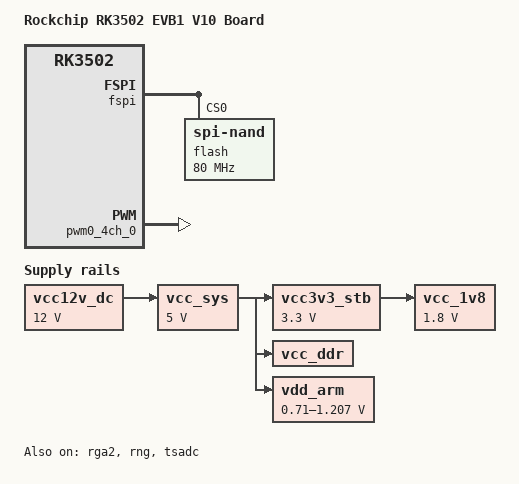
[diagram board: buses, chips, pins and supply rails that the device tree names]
// SPDX-License-Identifier: (GPL-2.0+ OR MIT)
/*
 * Copyright (c) 2024 Rockchip Electronics Co., Ltd.
 */

/dts-v1/;
#include <dt-bindings/gpio/nca9555-gpio.h>
#include <dt-bindings/display/drm_mipi_dsi.h>
#include <dt-bindings/input/rk-input.h>
#include <dt-bindings/suspend/rockchip-rk3506.h>

#include "rk3506.dtsi"

/ {
    model = "Rockchip RK3502 EVB1 V10 Board";
    compatible = "rockchip,rk3502-evb1-v10", "rockchip,rk3502";

    chosen {
        //bootargs = "earlycon=uart8250,mmio32,0xff0a0000 console=ttyFIQ0 ubi.mtd=5 ubi.block=0,rootfs root=/dev/ubiblock0_0 rootfstype=squashfs rootwait snd_aloop.index=7 snd_aloop.use_raw_jiffies=1";
        bootargs = "earlycon=uart8250,mmio32,0xff0a0000 console=ttyFIQ0 ubi.mtd=5 root=ubi0:rootfs rw rootfstype=ubifs rootwait snd_aloop.index=7 snd_aloop.use_raw_jiffies=1";
    };

    dsm_sound: dsm-sound {
        status = "disabled";
        compatible = "simple-audio-card";
        simple-audio-card,format = "i2s";
        simple-audio-card,mclk-fs = <256>;
        simple-audio-card,name = "rockchip,dsm-sound";
        simple-audio-card,bitclock-master = <&sndcodec>;
        simple-audio-card,frame-master = <&sndcodec>;
        sndcpu: simple-audio-card,cpu {
            sound-dai = <&sai3>;
        };
        sndcodec: simple-audio-card,codec {
            sound-dai = <&acdcdig_dsm>;
        };
    };

    fiq_debugger: fiq-debugger {
        compatible = "rockchip,fiq-debugger";
        rockchip,serial-id = <0>;
        rockchip,wake-irq = <0>;
        rockchip,irq-mode-enable = <1>;
        rockchip,baudrate = <115200>;	/* Only 115200 and 1500000 */
        interrupts = <GIC_SPI 115 IRQ_TYPE_LEVEL_HIGH>;
    };

    gpio_keys: gpio-keys {
        status = "disabled";
        compatible = "gpio-keys";
        pinctrl-names = "default";
        pinctrl-0 = <&key_wake_up>;

        wake_up: wake-up {
        label = "Wake-up";
            gpios = <&gpio0 RK_PC1 GPIO_ACTIVE_LOW>;
            linux,code = <KEY_WAKEUP>;
            wakeup-source;
        };
    };

    vcc12v_dc: vcc12v-dc {
        compatible = "regulator-fixed";
        regulator-name = "vcc12v_dc";
        regulator-always-on;
        regulator-boot-on;
        regulator-min-microvolt = <12000000>;
        regulator-max-microvolt = <12000000>;
    };

    vcc_sys: vcc-sys {
        compatible = "regulator-fixed";
        regulator-name = "vcc_sys";
        regulator-always-on;
        regulator-boot-on;
        regulator-min-microvolt = <5000000>;
        regulator-max-microvolt = <5000000>;
        vin-supply = <&vcc12v_dc>;
    };

    vcc3v3_stb: vcc3v3-stb {
        compatible = "regulator-fixed";
        regulator-name = "vcc3v3_stb";
        regulator-always-on;
        regulator-boot-on;
        regulator-min-microvolt = <3300000>;
        regulator-max-microvolt = <3300000>;
        vin-supply = <&vcc_sys>;
    };

    vcc_1v8: vcc-1v8 {
        compatible = "regulator-fixed";
        regulator-name = "vcc_1v8";
        regulator-always-on;
        regulator-boot-on;
        regulator-min-microvolt = <1800000>;
        regulator-max-microvolt = <1800000>;
        vin-supply = <&vcc3v3_stb>;
    };

    vcc_ddr: vcc-ddr {
        compatible = "regulator-fixed";
        regulator-name = "vcc_ddr";
        regulator-always-on;
        regulator-boot-on;
        vin-supply = <&vcc_sys>;
    };

    vdd_arm: vdd-arm {
        compatible = "pwm-regulator";
        pwms = <&pwm0_4ch_0 0 5000 1>;
        regulator-name = "vdd_arm";
        regulator-min-microvolt = <710000>;
        regulator-max-microvolt = <1207000>;
        regulator-init-microvolt = <1011000>;
        regulator-always-on;
        regulator-boot-on;
        regulator-settling-time-up-us = <250>;
        pwm-supply = <&vcc_sys>;
    };
};

&cma {
    size = <0x800000>;
};

&cpu0 {
    cpu-supply = <&vdd_arm>;
};

&flexbus_fspi {
    pinctrl-names = "default";
    pinctrl-0 = <&flexbus0m1_pins &flexbus0_clk_pins
                &flexbus0_d0_pins &flexbus0_d1_pins
                &flexbus0_d2_pins &flexbus0_d3_pins>;
    status = "disabled";

    flash@0 {
        compatible = "jedec,spi-nor";
        reg = <0>;
        spi-max-frequency = <100000000>;
        spi-rx-bus-width = <4>;
        spi-tx-bus-width = <1>;
    };
};

&fspi {
    status = "okay";
    
    flash@0 {
        compatible = "spi-nand";
        reg = <0>;
        spi-max-frequency = <80000000>;
        spi-rx-bus-width = <4>;
        spi-tx-bus-width = <1>;
    };
};

&pinctrl {
    gpio-keys {
        key_wake_up: key-wake-up {
            rockchip,pins = <0 RK_PC1 RK_FUNC_GPIO &pcfg_pull_none>;
        };
    };
};

&pwm0_4ch_0 {
    pinctrl-names = "active";
    pinctrl-0 = <&rm_io21_pwm0_ch0>;
    status = "okay";
};

&pwm0_4ch_1 {
    pinctrl-names = "active";
    pinctrl-0 = <&rm_io20_pwm0_ch1>;
    status = "disabled";
};

&pwm0_4ch_2 {
    pinctrl-names = "active";
    pinctrl-0 = <&rm_io3_pwm0_ch2>;
    status = "disabled";
};

&rga2 {
    status = "okay";
};

&rng {
    status = "okay";
};

&rockchip_suspend {
    rockchip,sleep-mode-config = <
        (0
        | RKPM_ARMOFF_DDRPD
        | RKPM_24M_OSC_DIS
        | RKPM_32K_CLK
        | RKPM_32K_SRC_RC
        | RKPM_PWM0_CH0_REGULATOR
        )
    >;

    rockchip,apios-suspend = <
        (0
        | RKPM_PWREN_CORE_GPIO0A2 | RKPM_PWREN_CORE_ACT_LOW
        | RKPM_PWREN_SLEEP_GPIO0A0 | RKPM_PWREN_SLEEP_ACT_LOW
        )
    >;
};

&tsadc {
    status = "okay";
};

&uart5 {
    pinctrl-0 = <&uart5m0_xfer_pins &uart5m0_ctsn_pins>;
    status = "disabled";
};

